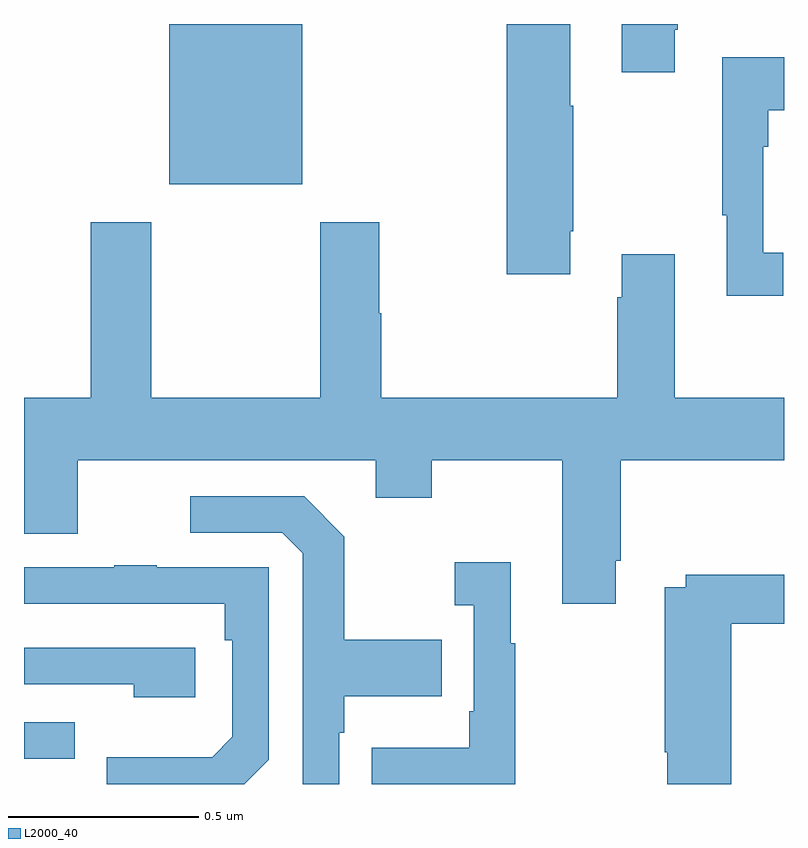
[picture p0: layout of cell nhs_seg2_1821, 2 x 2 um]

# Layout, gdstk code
import gdstk
lib = gdstk.Library(unit=1e-6, precision=1e-09)
def R(c, l, rs):  # rectangles x0, y0, x1, y1
    for r in rs: c.add(gdstk.rectangle(r[:2], r[2:], *l))
def P(c, l, *ps):  # polygons
    for p in ps: c.add(gdstk.Polygon(p, *l))
L2000_40 = (2000, 40)

nhs_seg2_1821 = lib.new_cell('nhs_seg2_1821')
R(nhs_seg2_1821, L2000_40, [(133,630.867,133.133,630.963), (133.382,632.378,133.732,632.8)])
P(nhs_seg2_1821, L2000_40, [(134.713,632.785),(134.721,632.785),(134.721,632.8),(134.573,632.8),(134.573,632.673),(134.713,632.673)],
  [(134.437,632.254),(134.445,632.254),(134.445,632.585),(134.437,632.585),(134.437,632.8),(134.27,632.8),(134.27,632.142),(134.437,632.142)],
  [(134.998,632.198),(134.946,632.198),(134.946,632.477),(134.959,632.477),(134.959,632.573),(135,632.573),(135,632.713),(134.838,632.713),(134.838,632.297),(134.849,632.297),(134.849,632.085),(134.998,632.085)],
  [(133.78,631.816),(133.335,631.816),(133.335,632.278),(133.175,632.278),(133.175,631.816),(133,631.816),(133,631.652),(133.001,631.652),(133.001,631.458),(133.141,631.458),(133.141,631.652),(133.925,631.652),(133.925,631.553),(134.073,631.553),(134.073,631.652),(134.417,631.652),(134.417,631.275),(134.557,631.275),(134.557,631.387),(134.57,631.387),(134.57,631.652),(135,631.652),(135,631.816),(134.713,631.816),(134.713,632.194),(134.573,632.194),(134.573,632.081),(134.561,632.081),(134.561,631.816),(133.94,631.816),(133.94,632.039),(133.935,632.039),(133.935,632.278),(133.78,632.278)],
  [(133.83,630.935),(133.843,630.935),(133.843,631.031),(134.099,631.031),(134.099,631.179),(133.843,631.179),(133.843,631.451),(133.737,631.557),(133.437,631.557),(133.437,631.461),(133.68,631.461),(133.734,631.407),(133.734,630.8),(133.83,630.8)],
  [(134.293,631.171),(134.281,631.171),(134.281,631.384),(134.133,631.384),(134.133,631.271),(134.184,631.271),(134.184,630.991),(134.172,630.991),(134.172,630.895),(133.915,630.895),(133.915,630.8),(134.293,630.8)],
  [(133.644,630.864),(133.644,631.371),(133.349,631.371),(133.349,631.376),(133.237,631.376),(133.237,631.371),(133,631.371),(133,631.275),(133.528,631.275),(133.528,631.178),(133.548,631.178),(133.548,630.924),(133.495,630.871),(133.218,630.871),(133.218,630.8),(133.58,630.8)],
  [(134.861,631.222),(135,631.222),(135,631.351),(134.742,631.351),(134.742,631.318),(134.686,631.318),(134.686,630.883),(134.693,630.883),(134.693,630.8),(134.861,630.8)],
  [(133.45,631.158),(133,631.158),(133,631.062),(133.289,631.062),(133.289,631.028),(133.45,631.028)])

lib.write_gds('nhs_seg2_1821.gds')
